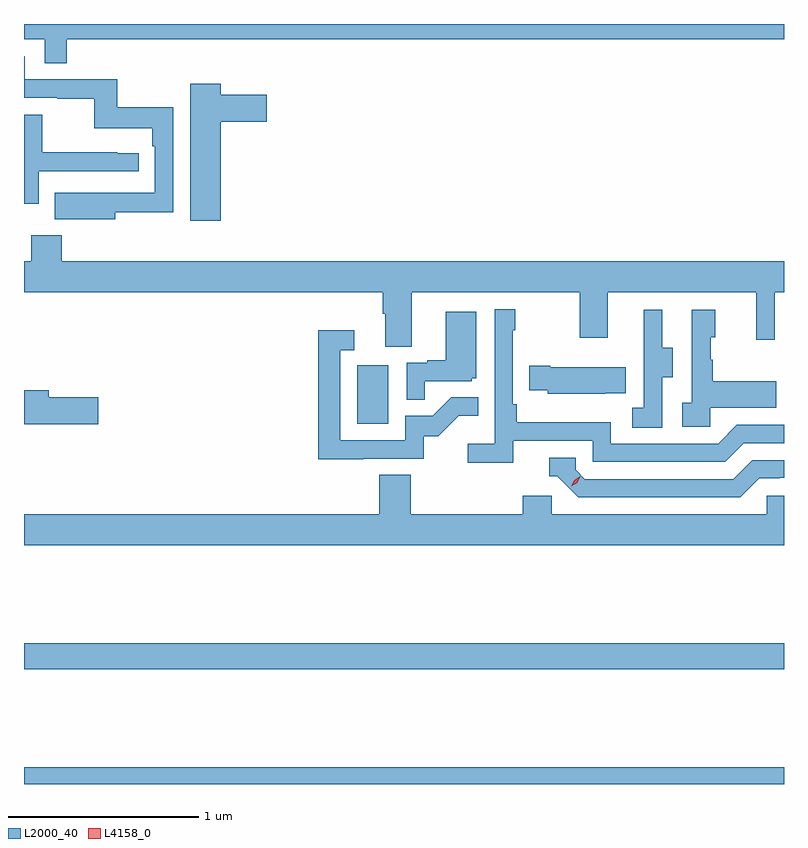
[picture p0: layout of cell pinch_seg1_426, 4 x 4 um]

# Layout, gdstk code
import gdstk
lib = gdstk.Library(unit=1e-6, precision=1e-09)
def R(c, l, rs):  # rectangles x0, y0, x1, y1
    for r in rs: c.add(gdstk.rectangle(r[:2], r[2:], *l))
def P(c, l, *ps):  # polygons
    for p in ps: c.add(gdstk.Polygon(p, *l))
L2000_40 = (2000, 40)
L4158_0 = (4158, 0)

pinch_seg1_426 = lib.new_cell('pinch_seg1_426')
R(pinch_seg1_426, L2000_40, [(935.905,518.508,939.905,518.596), (935.905,519.112,939.905,519.248), (937.658,520.404,937.822,520.711)])
P(pinch_seg1_426, L2000_40, [(936.131,522.428),(939.905,522.428),(939.905,522.508),(935.905,522.508),(935.905,522.428),(936.015,522.428),(936.015,522.301),(936.131,522.301)],
  [(936.385,521.518),(936.69,521.518),(936.69,522.07),(936.397,522.07),(936.397,522.216),(935.91,522.216),(935.91,522.339),(935.905,522.339),(935.905,522.12),(936.079,522.12),(936.079,522.115),(936.276,522.115),(936.276,521.96),(936.581,521.96),(936.581,521.864),(936.594,521.864),(936.594,521.619),(936.281,521.619),(936.281,521.62),(936.067,521.62),(936.067,521.48),(936.385,521.48)],
  [(936.94,521.993),(937.183,521.993),(937.183,522.135),(936.94,522.135),(936.94,522.193),(936.779,522.193),(936.779,521.472),(936.94,521.472)],
  [(935.982,521.733),(936.508,521.733),(936.508,521.829),(936.395,521.829),(936.395,521.834),(936.002,521.834),(936.002,522.03),(935.905,522.03),(935.905,521.561),(935.982,521.561)],
  [(937.945,521.096),(938.83,521.096),(938.83,520.857),(938.977,520.857),(938.977,521.096),(939.758,521.096),(939.758,520.847),(939.855,520.847),(939.855,521.096),(939.905,521.096),(939.905,521.26),(936.104,521.26),(936.104,521.395),(935.944,521.395),(935.944,521.26),(935.905,521.26),(935.905,521.096),(937.793,521.096),(937.793,520.984),(937.805,520.984),(937.805,520.81),(937.945,520.81)],
  [(938.48,520.314),(938.898,520.314),(938.898,520.203),(939.595,520.203),(939.694,520.302),(939.905,520.302),(939.905,520.398),(939.657,520.398),(939.558,520.299),(938.994,520.299),(938.994,520.411),(938.498,520.411),(938.498,520.507),(938.478,520.507),(938.478,520.895),(938.491,520.895),(938.491,521.008),(938.382,521.008),(938.382,520.3),(938.241,520.3),(938.241,520.198),(938.48,520.198)],
  [(939.264,520.648),(939.319,520.648),(939.319,520.803),(939.265,520.803),(939.265,521.005),(939.167,521.005),(939.167,520.791),(939.168,520.791),(939.168,520.487),(939.105,520.487),(939.105,520.384),(939.264,520.384)],
  [(939.516,520.487),(939.863,520.487),(939.863,520.627),(939.529,520.627),(939.529,520.742),(939.519,520.742),(939.519,520.86),(939.544,520.86),(939.544,521.005),(939.42,521.005),(939.42,520.514),(939.369,520.514),(939.369,520.389),(939.516,520.389)],
  [(938.015,520.629),(938.262,520.629),(938.262,520.644),(938.284,520.644),(938.284,520.993),(938.126,520.993),(938.126,520.738),(938.027,520.738),(938.027,520.725),(937.92,520.725),(937.92,520.531),(938.015,520.531)],
  [(937.691,520.221),(938.01,520.221),(938.01,520.338),(938.086,520.338),(938.193,520.445),(938.297,520.445),(938.297,520.544),(938.153,520.544),(938.055,520.446),(937.911,520.446),(937.911,520.317),(937.569,520.317),(937.569,520.791),(937.642,520.791),(937.642,520.897),(937.453,520.897),(937.453,520.216),(937.691,520.216)],
  [(938.963,520.565),(939.071,520.565),(939.071,520.702),(938.674,520.702),(938.674,520.71),(938.563,520.71),(938.563,520.58),(938.661,520.58),(938.661,520.562),(938.963,520.562)],
  [(936.295,520.544),(936.034,520.544),(936.034,520.58),(935.905,520.58),(935.905,520.444),(935.906,520.444),(935.906,520.402),(936.295,520.402)],
  [(939.775,520.116),(939.882,520.116),(939.882,520.119),(939.905,520.119),(939.905,520.212),(939.738,520.212),(939.639,520.113),(938.856,520.113),(938.808,520.161),(938.808,520.224),(938.669,520.224),(938.669,520.128),(938.712,520.128),(938.823,520.017),(939.676,520.017)],
  [(939.905,520.026),(939.813,520.026),(939.813,519.928),(938.682,519.928),(938.682,520.026),(938.531,520.026),(938.531,519.928),(937.94,519.928),(937.94,520.136),(937.775,520.136),(937.775,519.928),(935.905,519.928),(935.905,519.764),(939.905,519.764)])
P(pinch_seg1_426, L4158_0, [(938.786,520.074),(938.786,520.074),(938.802,520.107),(938.832,520.127),(938.832,520.127),(938.832,520.126),(938.816,520.094),(938.786,520.074)])

lib.write_gds('pinch_seg1_426.gds')
